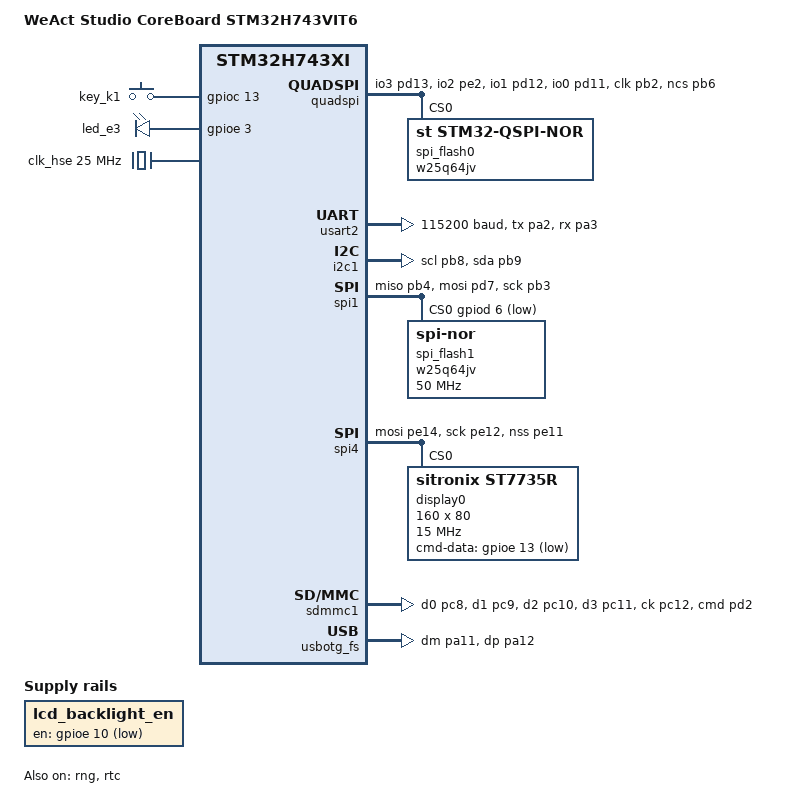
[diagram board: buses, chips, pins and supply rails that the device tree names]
/*
 * Copyright (c) 2023 Caspar Friedrich <c.s.w.friedrich@gmail.com>
 *
 * SPDX-License-Identifier: Apache-2.0
 */

/dts-v1/;

#include <st/h7/stm32h743Xi.dtsi>
#include <st/h7/stm32h743vitx-pinctrl.dtsi>

/ {
	model = "WeAct Studio CoreBoard STM32H743VIT6";
	compatible = "weact,coreboard-h743vi";

	chosen {
		zephyr,code-partition = &slot0_partition;
		zephyr,console = &usart2;
		zephyr,display = &display0;
		zephyr,dtcm = &dtcm;
		zephyr,flash = &flash0;
		zephyr,shell-uart = &usart2;
		zephyr,sram = &sram0;
		zephyr,uart-mcumgr = &usart2;
	};

	gpio_keys {
		compatible = "gpio-keys";

		key_k1: key_k1 {
			gpios = <&gpioc 13 (GPIO_ACTIVE_HIGH | GPIO_PULL_DOWN)>;
		};
	};

	gpio_leds {
		compatible = "gpio-leds";

		led_e3: led_e3 {
			gpios = <&gpioe 3 GPIO_ACTIVE_HIGH>;
		};
	};

	lcd_backlight_en: lcd_backlight_en {
		compatible = "regulator-fixed";
		regulator-name = "lcd_backlight_enable";
		enable-gpios = <&gpioe 10 GPIO_ACTIVE_LOW>;
	};

	aliases {
		led0 = &led_e3;
		sw0 = &key_k1;
		mcuboot-led0 = &led_e3;
		mcuboot-button0 = &key_k1;
		spi-flash0 = &spi_flash0;
		die-temp0 = &die_temp;
	};
};

&clk_hse {
	clock-frequency = <DT_FREQ_M(25)>;
	status = "okay";
};

&clk_lse {
	status = "okay";
};

&pll {
	clocks = <&clk_hse>;
	div-m = <5>;
	mul-n = <192>;
	div-p = <2>; /* 480 MHz -> SYSCLK */
	div-q = <8>; /* 120 MHz -> RNG, SDMMC1/2, SPI1/2/3 */
	div-r = <2>; /* 480 MHz */
	status = "okay";
};

&pll3 {
	clocks = <&clk_hse>;
	div-m = <5>;
	mul-n = <192>;
	div-p = <2>;  /* 480 MHz */
	div-q = <20>; /*  48 MHz -> USB */
	div-r = <2>;  /* 480 MHz */
	status = "okay";
};

&rcc {
	clocks = <&pll>;
	clock-frequency = <DT_FREQ_M(480)>;
	d1cpre  = <1>; /* 480 MHz -> CPU Clock, Systick */
	hpre    = <2>; /* 240 MHz (HCLK3) -> QUADSPI */
	d1ppre  = <2>; /* 120 MHz (PCLK3) */
	d2ppre1 = <2>; /* 120 MHz (PCLK1) -> I2C1/2/3, USART2/3/4/5/7/8 */
	d2ppre2 = <2>; /* 120 MHz (PCLK2) -> SPI4/5, USART1/6 */
	d3ppre  = <2>; /* 120 MHz (PCLK4) */
	status = "okay";
};

&rng {
	clocks = <&rcc STM32_CLOCK_BUS_AHB2 0x00000040>,
	         <&rcc STM32_SRC_PLL1_Q RNG_SEL(1)>;
	status = "okay";
};

&rtc {
	clocks = <&rcc STM32_CLOCK_BUS_APB4 0x00010000>,
	         <&rcc STM32_SRC_LSE RTC_SEL(1)>;
	status = "okay";
};

&quadspi {
	pinctrl-0 = <&quadspi_bk1_io3_pd13 &quadspi_bk1_io2_pe2 &quadspi_bk1_io1_pd12
	             &quadspi_bk1_io0_pd11 &quadspi_clk_pb2 &quadspi_bk1_ncs_pb6>;
	pinctrl-names = "default";
	status = "okay";

	spi_flash0: w25q64jv@0 {
		compatible = "st,stm32-qspi-nor";
		reg = <0x0>;
		jedec-id = [ef 40 17];
		size = <DT_SIZE_M(64)>;
		qspi-max-frequency = <DT_FREQ_M(50)>;
	};
};

&usart2 {
	pinctrl-0 = <&usart2_tx_pa2 &usart2_rx_pa3>;
	pinctrl-names = "default";
	current-speed = <115200>;
	status = "okay";
};

&i2c1 {
	pinctrl-0 = <&i2c1_scl_pb8 &i2c1_sda_pb9>;
	pinctrl-names = "default";
	status = "okay";

	camera0: ov7725@21 {
		compatible = "ovti,ov7725";
		reg = <0x21>;
		status = "disabled";
	};
};

&spi1 {
	pinctrl-0 = <&spi1_miso_pb4 &spi1_mosi_pd7 &spi1_sck_pb3>;
	pinctrl-names = "default";
	cs-gpios = <&gpiod 6 (GPIO_ACTIVE_LOW | GPIO_PULL_UP)>;
	status = "okay";

	spi_flash1: w25q64jv@0 {
		compatible ="jedec,spi-nor";
		reg = <0x0>;
		jedec-id = [ef 40 17];
		size = <DT_SIZE_M(64)>;
		spi-max-frequency = <DT_FREQ_M(50)>;
	};
};

&spi4 {
	pinctrl-0 = <&spi4_mosi_pe14 &spi4_sck_pe12 &spi4_nss_pe11>;
	pinctrl-names = "default";
	status = "okay";

	display0: st7735@0 {
		compatible = "sitronix,st7735r";
		reg = <0x0>;
		spi-max-frequency = <DT_FREQ_M(15)>;
		cmd-data-gpios = <&gpioe 13 GPIO_ACTIVE_LOW>;
		width = <160>;
		height = <80>;
		x-offset = <1>;
		y-offset = <26>;
		madctl = <120>;
		colmod = <5>;
		pwctr1 = [62 02 04];
		pwctr2 = [C0];
		pwctr3 = [0D 00];
		pwctr4 = [8D 6A];
		pwctr5 = [8D EE];
		gamctrp1 = [10 0E 02 03 0E 07 02 07 0A 12 27 37 00 0D 0E 10];
		gamctrn1 = [10 0E 03 03 0F 06 02 08 0A 13 26 36 00 0D 0E 10];
		frmctr1 = [05 3A 3A];
		frmctr2 = [05 3A 3A];
		frmctr3 = [05 3A 3A 05 3A 3A];
		caset = [00 01 00 a0];
		raset = [00 1a 00 69];
		vmctr1 = <14>;
		invctr = <3>;
		inversion-on;
		rgb-is-inverted;
	};
};

&sdmmc1 {
	pinctrl-0 = <&sdmmc1_d0_pc8 &sdmmc1_d1_pc9 &sdmmc1_d2_pc10
	             &sdmmc1_d3_pc11 &sdmmc1_ck_pc12 &sdmmc1_cmd_pd2>;
	pinctrl-names = "default";
	status = "okay";
};

zephyr_udc0: &usbotg_fs {
	clocks = <&rcc STM32_CLOCK_BUS_AHB1 0x08000000>,
	         <&rcc STM32_SRC_PLL3_Q USB_SEL(2)>;
	pinctrl-0 = <&usb_otg_fs_dm_pa11 &usb_otg_fs_dp_pa12>;
	pinctrl-names = "default";
	status = "okay";
};

&flash0 {
	partitions {
		compatible = "fixed-partitions";
		#address-cells = <1>;
		#size-cells = <1>;

		boot_partition: partition@0 {
			label = "mcuboot";
			reg = <0x00000000 DT_SIZE_K(64)>;
			read-only;
		};

		slot0_partition: partition@10000 {
			label = "image-0";
			reg = <0x00010000 DT_SIZE_K(960)>;
		};

		slot1_partition: partition@100000 {
			label = "image-1";
			reg = <0x00100000 DT_SIZE_K(960)>;
		};

		storage_partition: partition@1f0000 {
			label = "storage";
			reg = <0x001f0000 DT_SIZE_K(64)>;
		};
	};
};
